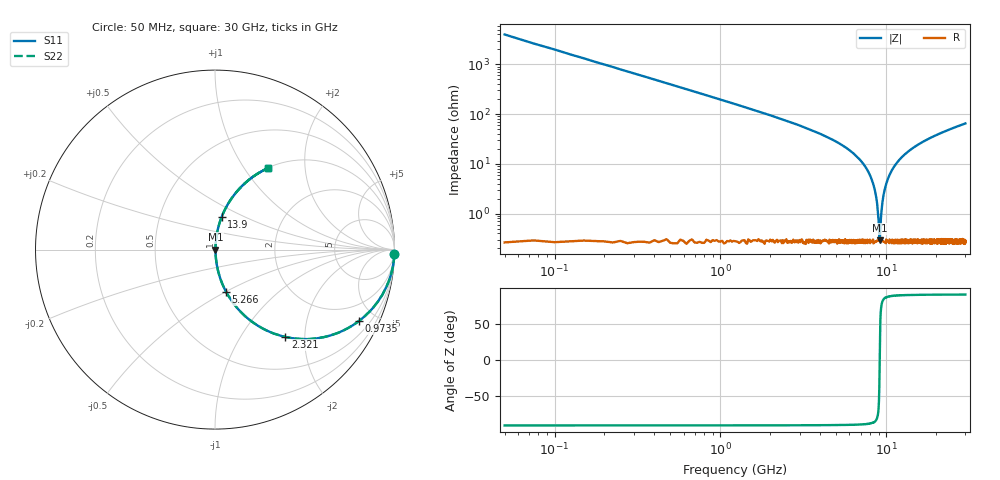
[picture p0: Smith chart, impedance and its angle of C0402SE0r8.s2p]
!	AVX Thin Film Operation 	Date: April 2014
!	Description: Accu-P® Series, Thin Film  SMD RF Capacitor
!	Part Number: 04021J0R8PBSTR
# MHZ S MA R 50
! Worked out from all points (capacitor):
!   1201 points, 50 MHz to 30 GHz, reference 50 ohm
!   read as one part in series: C = 799 fF near 199.8 MHz
!   lowest |Z| = 291 mohm at 9.135 GHz (marker M1)
!   series resonance near 9.128 GHz, so ESL is about 380 pH
!   S11 on the Smith chart (normalised r, x): 50 MHz: 0, -80; 973.5 MHz: 1.00, -4.04; 2.321 GHz: 1.01, -1.60; 5.266 GHz: 1.01, -0.50; 13.9 GHz: 1.01, +0.38; 30 GHz: 1.01, +1.30
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50  1 -1.4  0.025 88.6  0.025 88.6  1 -1.4
249.667  0.992 -7.2  0.125 82.8  0.125 82.8  0.992 -7.2
399.417  0.98 -11.4  0.197 78.6  0.197 78.6  0.98 -11.4
973.458  0.896 -26.3  0.443 63.6  0.443 63.6  0.896 -26.3
2321.208  0.624 -51.2  0.779 38.6  0.779 38.6  0.624 -51.2
5041.667  0.264 -74.1  0.962 15.3  0.962 15.3  0.264 -74.1
5266.292  0.244 -75.3  0.967 14.1  0.967 14.1  0.244 -75.3
7013.375  0.115 -82.0  0.991 6.6  0.991 6.6  0.115 -82.0
8086.583  0.053 -84.0  0.996 3.0  0.996 3.0  0.053 -84.0
8660.625  0.023 -81.8  0.997 1.3  0.997 1.3  0.023 -81.8
8835.333  0.014 -78.2  0.997 0.8  0.997 0.8  0.014 -78.2
9035  0.005246 -58.0  0.997 0.3  0.997 0.3  0.005246 -58.0
9134.833  0.002781 6.5  0.997 -0.0  0.997 -0.0  0.002781 6.5
9234.667  0.00575 61.0  0.997 -0.3  0.997 -0.3  0.00575 61.0
9559.125  0.02 81.0  0.997 -1.1  0.997 -1.1  0.02 81.0
10058.29  0.042 83.8  0.996 -2.4  0.996 -2.4  0.042 83.8
11580.75  0.104 82.5  0.992 -6.0  0.992 -6.0  0.104 82.5
13901.88  0.185 78.5  0.98 -10.7  0.98 -10.7  0.185 78.5
15025  0.22 76.6  0.973 -12.7  0.973 -12.7  0.22 76.6
20016.67  0.353 68.9  0.933 -20.7  0.933 -20.7  0.353 68.9
25033.29  0.459 62.4  0.886 -27.3  0.886 -27.3  0.459 62.4
30000  0.544 56.8  0.837 -33.0  0.837 -33.0  0.544 56.8
